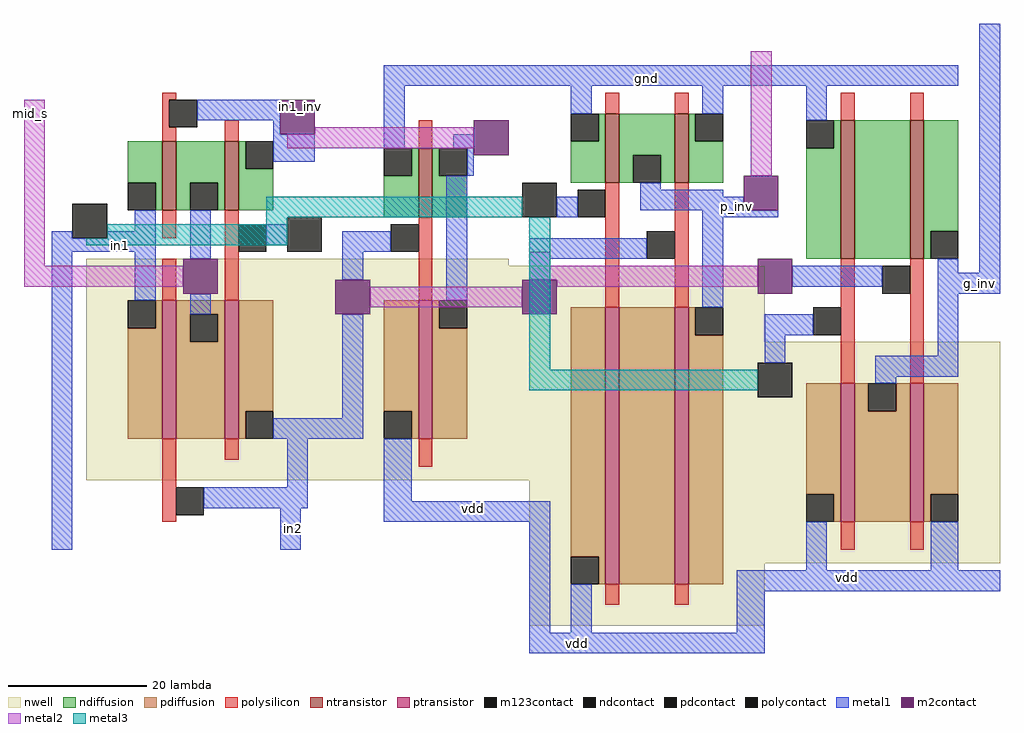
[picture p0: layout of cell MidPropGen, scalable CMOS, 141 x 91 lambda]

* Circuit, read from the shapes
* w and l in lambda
.subckt MidPropGen g_inv gnd in1 in1_inv in2 mid_s p_inv vdd
M1 mid_s in1_inv in1 VSUBS nfet w=10 l=2
M2 in1_inv in1 mid_s VSUBS nfet w=10 l=2
M3 in1_inv in2 gnd VSUBS nfet w=10 l=2
M4 p_inv in1 gnd VSUBS nfet w=10 l=2
M5 gnd in2 p_inv VSUBS nfet w=10 l=2
M6 n1 in1 gnd VSUBS nfet w=20 l=2
M7 g_inv in2 n1 VSUBS nfet w=20 l=2
M8 mid_s in2 in1 n2 pfet w=20 l=2
M9 in2 in1 mid_s n2 pfet w=20 l=2
M10 in1_inv in2 vdd n2 pfet w=20 l=2
M11 n3 in1 vdd n2 pfet w=40 l=2
M12 p_inv in2 n3 n2 pfet w=40 l=2
M13 g_inv in1 vdd n2 pfet w=20 l=2
M14 vdd in2 g_inv n2 pfet w=20 l=2
.ends

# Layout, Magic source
magic
tech scmos
<< nwell >>
rect -81 39 -20 40
rect -81 28 17 39
rect -81 8 51 28
rect -17 -4 51 8
rect -17 -13 17 -4
<< ntransistor >>
rect -70 47 -68 57
rect -61 47 -59 57
rect -33 46 -31 56
rect -6 51 -4 61
rect 4 51 6 61
rect 28 40 30 60
rect 38 40 40 60
<< ptransistor >>
rect -70 14 -68 34
rect -61 14 -59 34
rect -33 14 -31 34
rect -6 -7 -4 33
rect 4 -7 6 33
rect 28 2 30 22
rect 38 2 40 22
<< ndiffusion >>
rect -75 51 -70 57
rect -71 47 -70 51
rect -68 51 -61 57
rect -68 47 -66 51
rect -62 47 -61 51
rect -59 53 -58 57
rect -7 57 -6 61
rect -59 47 -54 53
rect -34 52 -33 56
rect -38 46 -33 52
rect -31 52 -30 56
rect -31 46 -26 52
rect -11 51 -6 57
rect -4 55 4 61
rect -4 51 -2 55
rect 2 51 4 55
rect 6 57 7 61
rect 6 51 11 57
rect 27 56 28 60
rect 23 40 28 56
rect 30 40 38 60
rect 40 44 45 60
rect 40 40 41 44
<< pdiffusion >>
rect -71 30 -70 34
rect -75 14 -70 30
rect -68 32 -61 34
rect -68 28 -66 32
rect -62 28 -61 32
rect -68 14 -61 28
rect -59 18 -54 34
rect -59 14 -58 18
rect -38 18 -33 34
rect -34 14 -33 18
rect -31 30 -30 34
rect -31 14 -26 30
rect -11 -3 -6 33
rect -7 -7 -6 -3
rect -4 -7 4 33
rect 6 29 7 33
rect 6 -7 11 29
rect 23 6 28 22
rect 27 2 28 6
rect 30 18 32 22
rect 36 18 38 22
rect 30 2 38 18
rect 40 6 45 22
rect 40 2 41 6
<< ndcontact >>
rect -75 47 -71 51
rect -66 47 -62 51
rect -58 53 -54 57
rect -11 57 -7 61
rect -38 52 -34 56
rect -30 52 -26 56
rect -2 51 2 55
rect 7 57 11 61
rect 23 56 27 60
rect 41 40 45 44
<< pdcontact >>
rect -75 30 -71 34
rect -66 28 -62 32
rect -58 14 -54 18
rect -38 14 -34 18
rect -30 30 -26 34
rect -11 -7 -7 -3
rect 7 29 11 33
rect 23 2 27 6
rect 32 18 36 22
rect 41 2 45 6
<< polysilicon >>
rect -70 63 -68 64
rect -70 59 -69 63
rect -6 61 -4 64
rect 4 61 6 64
rect -70 57 -68 59
rect -61 57 -59 60
rect -33 56 -31 60
rect -70 43 -68 47
rect -70 34 -68 40
rect -61 34 -59 47
rect 28 60 30 64
rect 38 60 40 64
rect -33 34 -31 46
rect -6 33 -4 51
rect 4 33 6 51
rect -70 2 -68 14
rect -61 11 -59 14
rect -33 10 -31 14
rect 28 22 30 40
rect 38 22 40 40
rect 28 -2 30 2
rect 38 -2 40 2
rect -6 -10 -4 -7
rect 4 -10 6 -7
<< polycontact >>
rect -69 59 -65 63
rect -10 46 -6 50
rect -59 41 -55 45
rect -37 41 -33 45
rect 0 40 4 44
rect -68 3 -64 7
rect 24 29 28 33
rect 34 35 38 39
<< metal1 >>
rect -38 65 45 68
rect -65 60 -53 63
rect -54 58 -53 60
rect -54 54 -48 58
rect -38 56 -35 65
rect -11 61 -8 65
rect 8 61 11 65
rect -28 56 -25 58
rect -26 52 -25 56
rect 23 60 26 65
rect -86 43 -83 44
rect -74 44 -71 47
rect -78 43 -71 44
rect -86 41 -71 43
rect -86 -2 -83 41
rect -74 34 -71 41
rect -66 40 -63 47
rect -55 42 -52 45
rect -44 41 -37 44
rect -44 37 -41 41
rect -66 32 -63 35
rect -29 34 -26 52
rect -1 50 2 51
rect -13 46 -10 49
rect -1 49 11 50
rect -1 47 14 49
rect 8 46 19 47
rect -17 40 0 43
rect -17 37 -14 40
rect -44 17 -41 32
rect 8 33 11 46
rect 21 36 34 39
rect 42 38 45 40
rect 48 38 51 74
rect 42 35 51 38
rect 17 29 24 32
rect 17 25 20 29
rect 42 26 45 35
rect 33 23 45 26
rect 33 22 36 23
rect -54 14 -41 17
rect -52 7 -49 14
rect -64 4 -49 7
rect -38 5 -34 14
rect -53 -2 -50 4
rect -38 2 -14 5
rect -17 -14 -14 2
rect 23 -5 26 2
rect 41 -5 45 2
rect -11 -14 -8 -7
rect 13 -8 51 -5
rect 13 -14 17 -8
rect -17 -17 17 -14
<< m2contact >>
rect -53 58 -48 63
rect -25 55 -20 60
rect -67 35 -62 40
rect -45 32 -40 37
rect 14 47 19 52
rect -18 32 -13 37
rect 16 35 21 40
<< metal2 >>
rect -90 39 -87 63
rect -48 58 -25 59
rect -52 56 -25 58
rect 15 52 18 70
rect -90 36 -67 39
rect -17 39 -14 41
rect -17 37 16 39
rect -40 33 -18 36
rect -13 36 16 37
<< m123contact >>
rect -83 43 -78 48
rect -18 46 -13 51
rect -52 41 -47 46
rect 16 20 21 25
<< metal3 >>
rect -55 46 -18 49
rect -55 45 -52 46
rect -78 43 -52 45
rect -81 42 -52 43
rect -17 24 -14 46
rect -17 21 16 24
<< labels >>
rlabel m2contact -50 62 -50 62 5 in1_inv
rlabel metal1 -25 4 -25 4 1 vdd
rlabel metal1 0 66 0 66 5 gnd
rlabel metal1 -10 -16 -10 -15 1 vdd
rlabel metal1 -77 41 -75 43 1 in1
rlabel metal1 29 -6 29 -6 1 vdd
rlabel metal1 45 35 51 38 7 g_inv
rlabel metal1 11 46 15 49 1 p_inv
rlabel metal2 -89 61 -89 61 3 mid_s
rlabel metal1 -51 1 -51 1 1 in2
<< end >>
